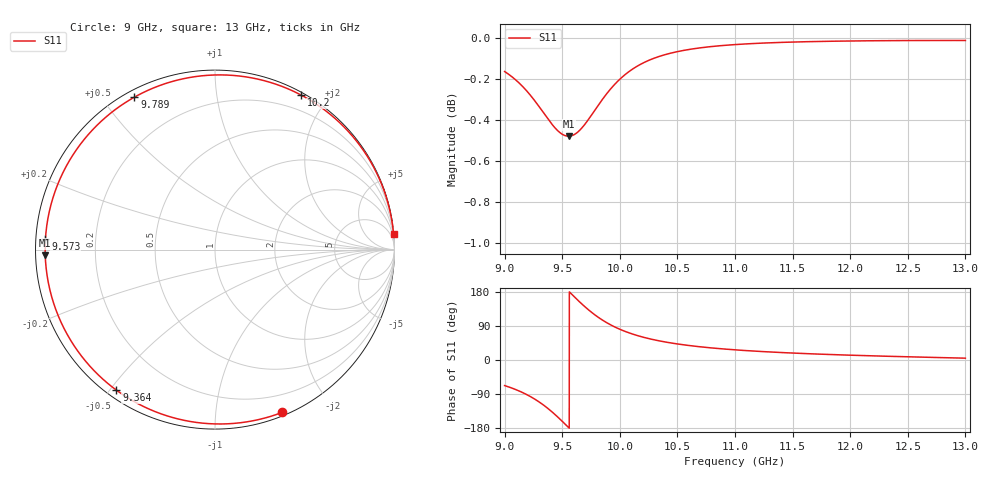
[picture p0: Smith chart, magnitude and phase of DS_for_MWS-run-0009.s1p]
! TOUCHSTONE file generated by CST DESIGN STUDIO
! Date and time: Wed Feb  5 13:18:22 2025
! Project name: C:\Work\MatlabApps\UnitCellOptimizationMatlab\CST\unitcell.cst
! Tree item: Tasks\Sweep1\SPara1\S-Parameters
! Header version: 2024
! Port assignment regex: !\s*Touchstone port\s*([0-9]+)\s*=\s*(CST MWS port|CST DES external port|CST DES block port)\s*(.+)\s* \(\"(.*)\"\)(\s*mode\s*([0-9]+))?.*
! Touchstone port assignment:
! Touchstone port 1 = CST DES external port 1 ("")
# GHz S MA R 50
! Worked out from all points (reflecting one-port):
!   4001 points, 9 GHz to 13 GHz, reference 50 ohm
!   lowest |S11| = -0.5 dB at 9.555 GHz (marker M1), VSWR 36.28, Z = 1.38 - j0.814 ohm
!   phase of S11 starts at -67 deg and turns -288 deg over the sweep
!   S11 on the Smith chart (normalised r, x): 9 GHz: 0.03, -1.50; 9.364 GHz: 0.03, -0.52; 9.573 GHz: 0.03, +0.03; 9.789 GHz: 0.03, +0.60; 10.2 GHz: 0.03, +1.70; 13 GHz: 0, +24
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9  0.9812 -67.5
9.04  0.9795 -71.6
9.106  0.9761 -79.2
9.218  0.9687 -95.5
9.295  0.9625 -109.8
9.364  0.9566 -125.0
9.43  0.9513 -141.8
9.5  0.9474 -161.7
9.555  0.9464 -178.1
9.573  0.9465 176.4
9.628  0.9482 160.0
9.688  0.952 143.0
9.738  0.9562 129.9
9.789  0.9607 117.9
9.834  0.9648 108.3
9.883  0.9689 99.1
9.937  0.9729 90.1
10  0.977 81.1
10.093  0.9818 70.3
10.195  0.9857 60.8
10.335  0.9894 50.9
10.5  0.9922 42.4
10.721  0.9945 34.1
11  0.9961 26.8
11.5  0.9976 18.3
12  0.9982 12.7
12.5  0.9984 8.4
13  0.9984 4.8
